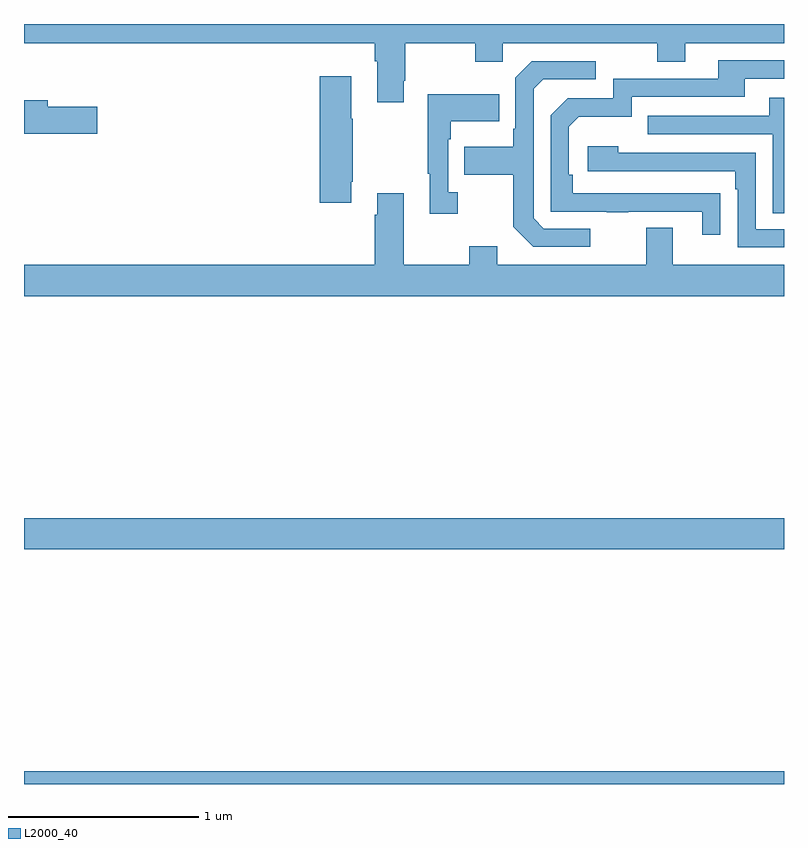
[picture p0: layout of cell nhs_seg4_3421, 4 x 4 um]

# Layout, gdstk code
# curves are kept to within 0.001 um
import gdstk
lib = gdstk.Library(unit=1e-6, precision=1e-09)
def R(c, l, rs):  # rectangles x0, y0, x1, y1
    for r in rs: c.add(gdstk.rectangle(r[:2], r[2:], *l))
def P(c, l, *ps):  # polygons
    for p in ps: c.add(gdstk.Polygon(p, *l))
L2000_40 = (2000, 40)

nhs_seg4_3421 = lib.new_cell('nhs_seg4_3421')
R(nhs_seg4_3421, L2000_40, [(291,812.9,295,812.968), (291,814.136,295,814.3)])
P(nhs_seg4_3421, L2000_40, [(292.999,816.601),(293.007,816.601),(293.007,816.8),(293.374,816.8),(293.374,816.701),(293.52,816.701),(293.52,816.8),(294.334,816.8),(294.334,816.701),(294.481,816.701),(294.481,816.8),(295,816.8),(295,816.9),(291,816.9),(291,816.8),(292.847,816.8),(292.847,816.704),(292.859,816.704),(292.859,816.489),(292.999,816.489)],
  [(294.665,816.008),(293.888,816.009),(293.888,816.106),(293.868,816.106),(293.868,816.36),(293.921,816.413),(294.198,816.413),(294.198,816.516),(294.793,816.516),(294.793,816.612),(295,816.612),(295,816.708),(294.653,816.708),(294.653,816.612),(294.102,816.612),(294.102,816.51),(293.862,816.51),(293.772,816.42),(293.772,815.913),(294.067,815.913),(294.067,815.908),(294.179,815.908),(294.179,815.913),(294.569,815.913),(294.569,815.79),(294.665,815.79)],
  [(293.98,815.823),(293.736,815.823),(293.682,815.877),(293.682,816.558),(293.733,816.609),(294.01,816.609),(294.01,816.705),(293.673,816.705),(293.586,816.618),(293.586,816.349),(293.574,816.349),(293.574,816.253),(293.317,816.253),(293.317,816.106),(293.574,816.106),(293.574,815.833),(293.679,815.727),(293.98,815.727)],
  [(292.723,816.07),(292.731,816.07),(292.731,816.401),(292.723,816.401),(292.723,816.625),(292.556,816.625),(292.556,815.958),(292.723,815.958)],
  [(293.284,816.014),(293.232,816.014),(293.232,816.293),(293.245,816.293),(293.245,816.389),(293.501,816.389),(293.501,816.529),(293.124,816.529),(293.124,816.113),(293.135,816.113),(293.135,815.901),(293.284,815.901)],
  [(295,816.511),(294.923,816.511),(294.923,816.417),(294.283,816.417),(294.283,816.321),(294.942,816.321),(294.942,815.905),(295,815.905)],
  [(291.385,816.465),(291.124,816.465),(291.124,816.499),(291,816.499),(291,816.323),(291.385,816.323)],
  [(295,815.82),(294.852,815.82),(294.852,816.222),(294.128,816.222),(294.128,816.256),(293.967,816.256),(293.967,816.126),(294.743,816.126),(294.743,816.029),(294.756,816.029),(294.756,815.724),(295,815.724)],
  [(295,815.632),(294.415,815.632),(294.415,815.827),(294.275,815.827),(294.275,815.632),(293.491,815.632),(293.491,815.731),(293.344,815.731),(293.344,815.632),(292.999,815.632),(292.999,816.01),(292.859,816.01),(292.859,815.897),(292.847,815.897),(292.847,815.632),(291,815.632),(291,815.468),(295,815.468)])

lib.write_gds('nhs_seg4_3421.gds')
